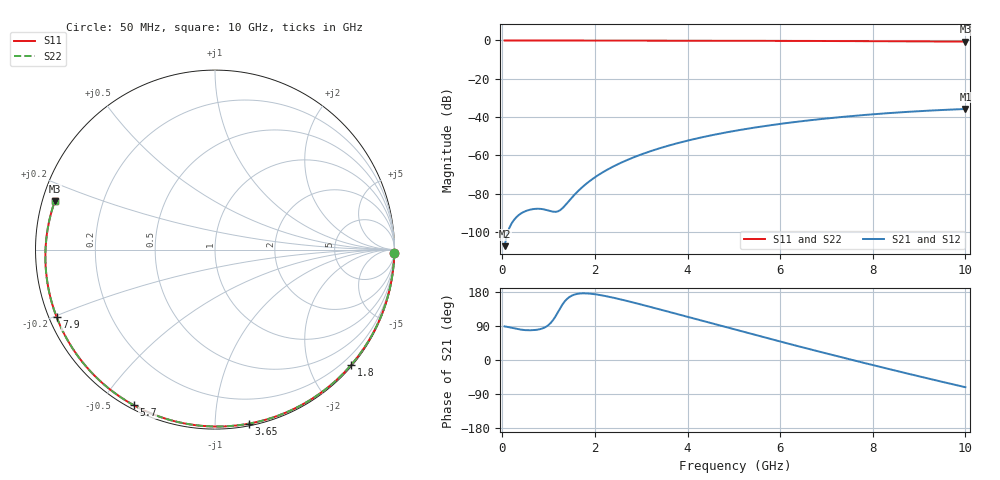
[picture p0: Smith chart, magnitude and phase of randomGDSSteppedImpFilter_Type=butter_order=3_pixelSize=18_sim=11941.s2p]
! freq	dB(S11)	phase(S11)	dB(S12)	phase(S12)
!  dB(S21)	phase(S21)	dB(S22)	phase(S22)
!S-par simulation data
#  GHz  S  DB  R 50
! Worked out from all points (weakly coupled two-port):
!   200 points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, 50 MHz to 10 GHz, reference 50 ohm
!   highest |S21| = -35.80 dB at 10 GHz (marker M1); lowest = -107.4 dB at 50 MHz (marker M2)
!   lowest |S11| = -0.6 dB at 10 GHz (marker M3), VSWR 28.64, Z = 1.78 + j7.36 ohm
!   |S11| at or under -10 dB: nowhere
!   |S22| runs from -0.6 to 0.0 dB; largest |S21 - S12| = 0
!   S11 on the Smith chart (normalised r, x): 50 MHz: open; 1.8 GHz: 0.02, -2.72; 3.65 GHz: 0.01, -1.22; 5.7 GHz: 0.02, -0.60; 7.9 GHz: 0.02, -0.20; 10 GHz: 0.04, +0.15
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0.05  -0.00 -1.1  -107.42 88.8  -107.42 88.8  -0.00 -1.1
0.45  -0.02 -10.2  -89.69 79.4  -89.69 79.4  -0.02 -10.2
0.8  -0.02 -18.2  -87.91 81.0  -87.91 81.0  -0.02 -18.2
1.55  -0.04 -34.9  -80.81 172.3  -80.81 172.3  -0.04 -34.9
1.6  -0.05 -36.0  -79.54 174.0  -79.54 174.0  -0.05 -36.0
1.75  -0.05 -39.3  -76.12 175.9  -76.12 175.9  -0.05 -39.3
1.8  -0.05 -40.4  -75.09 175.8  -75.09 175.8  -0.05 -40.4
2.1  -0.06 -46.9  -69.88 171.7  -69.88 171.7  -0.06 -46.9
2.45  -0.07 -54.3  -65.17 162.9  -65.17 162.9  -0.07 -54.3
2.9  -0.08 -63.7  -60.43 149.5  -60.43 149.5  -0.08 -63.7
3.4  -0.10 -73.9  -56.28 133.5  -56.28 133.5  -0.10 -73.9
3.65  -0.10 -78.9  -54.52 125.4  -54.52 125.4  -0.10 -78.9
4.35  -0.13 -92.6  -50.37 102.3  -50.37 102.3  -0.13 -92.6
5.05  -0.16 -105.7  -47.08 79.4  -47.08 79.4  -0.16 -105.8
5.7  -0.19 -117.7  -44.59 58.3  -44.59 58.3  -0.19 -117.7
6.7  -0.26 -135.6  -41.52 26.6  -41.52 26.6  -0.26 -135.6
7.3  -0.31 -146.3  -40.03 8.0  -40.03 8.0  -0.31 -146.3
7.9  -0.36 -157.0  -38.76 -10.3  -38.76 -10.3  -0.36 -157.0
8.35  -0.41 -165.2  -37.93 -23.9  -37.93 -23.9  -0.41 -165.1
8.8  -0.46 -173.5  -37.22 -37.3  -37.22 -37.3  -0.46 -173.4
9.2  -0.50 179.0  -36.66 -49.0  -36.66 -49.0  -0.50 179.0
10  -0.61 163.2  -35.80 -71.8  -35.80 -71.8  -0.61 163.3
